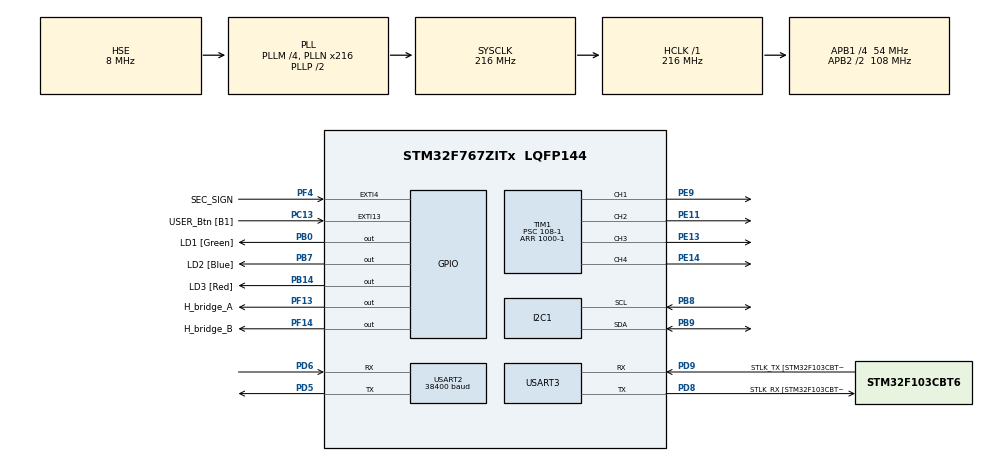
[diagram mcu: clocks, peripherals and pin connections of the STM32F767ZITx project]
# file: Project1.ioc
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FREERTOS.INCLUDE_vTaskDelayUntil=1
FREERTOS.Mutexes01=Mutex_Send,Dynamic,NULL;Mutex_Receive_Uart2,Dynamic,NULL;Mutex_Receive_Uart3,Dynamic,NULL
FREERTOS.Queues01=Queue_Reference_Temp,1,uint8_t,0,Dynamic,NULL,NULL;Queue_Refernce_Light,1,uint8_t,0,Dynamic,NULL,NULL;Queue_Light_Mode,1,uint8_t,0,Dynamic,NULL,NULL;Queue_Real_Temp,1,float,0,Dynamic,NULL,NULL;Queue_Real_Hum,1,uint8_t,0,Dynamic,NULL,NULL;Queue_Real_Lumin,1,uint16_t,0,Dynamic,NULL,NULL
FREERTOS.Tasks01=vTaskRunning,-3,128,StartTaskRunning,Default,NULL,Dynamic,NULL,NULL;vTaskSendInfo,2,128,StartTaskSendInfo,Default,NULL,Dynamic,NULL,NULL;vTaskProcessInf,2,128,StartTaskProcessInfo,Default,NULL,Dynamic,NULL,NULL;vTaskAquireTemp,1,128,StartTaskAquireTemp,Default,NULL,Dynamic,NULL,NULL;vTaskAquireBrig,1,128,StartTaskAquireBright,Default,NULL,Dynamic,NULL,NULL;vTaskSetSecureM,0,128,StartTaskSetSecureMode,Default,NULL,Dynamic,NULL,NULL;vTaskRlControl,0,128,StartTaskRlControl,Default,NULL,Dynamic,NULL,NULL;vTaskLightActua,0,128,StartTaskLightActuator,Default,NULL,Dynamic,NULL,NULL
FREERTOS.Timers01=Fast_Timer,Callback_Fast_Timer,osTimerOnce,Default,NULL,Dynamic,NULL;Slow_Timer,Callback_Slow_Timer,osTimerOnce,Default,NULL,Dynamic,NULL;Samplig_Timer,Callback_Sampling_Timer,osTimerPeriodic,Default,NULL,Dynamic,NULL
FREERTOS.configUSE_APPLICATION_TASK_TAG=0
FREERTOS.configUSE_TIMERS=1
I2C1.Timing=0x20404768
Mcu.Family=STM32F7
Mcu.Name=STM32F767ZITx
Mcu.Package=LQFP144
NVIC.EXTI15_10_IRQn=true\:5\:0\:false\:false\:true\:true\:true\:true
NVIC.EXTI4_IRQn=true\:5\:0\:false\:false\:true\:true\:true\:true
NVIC.PriorityGroup=NVIC_PRIORITYGROUP_4
NVIC.TIM3_IRQn=true\:0\:0\:false\:false\:true\:false\:false\:true
NVIC.TimeBase=TIM3_IRQn
NVIC.TimeBaseIP=TIM3
NVIC.USART2_IRQn=true\:5\:0\:false\:false\:true\:true\:true\:true
NVIC.USART3_IRQn=true\:5\:0\:false\:false\:true\:true\:true\:true
PA13.GPIO_Label=TMS
PA13.Mode=Serial_Wire
PA13.Signal=SYS_JTMS-SWDIO
PA14.GPIO_Label=TCK
PA14.Mode=Serial_Wire
PA14.Signal=SYS_JTCK-SWCLK
PB0.GPIO_Label=LD1 [Green]
PB0.Signal=GPIO_Output
PB14.GPIO_Label=LD3 [Red]
PB14.Signal=GPIO_Output
PB7.GPIO_Label=LD2 [Blue]
PB7.Signal=GPIO_Output
PB8.Mode=I2C
PB8.Signal=I2C1_SCL
PB9.Mode=I2C
PB9.Signal=I2C1_SDA
PC13.GPIO_Label=USER_Btn [B1]
PC13.Signal=GPXTI13
PC14/OSC32_IN.Mode=LSE-External-Oscillator
PC14/OSC32_IN.Signal=RCC_OSC32_IN
PC15/OSC32_OUT.Mode=LSE-External-Oscillator
PC15/OSC32_OUT.Signal=RCC_OSC32_OUT
PD5.Mode=Asynchronous
PD5.Signal=USART2_TX
PD6.Mode=Asynchronous
PD6.Signal=USART2_RX
PD8.GPIO_Label=STLK_RX [STM32F103CBT6_PA3]
PD8.Mode=Asynchronous
PD8.Signal=USART3_TX
PD9.GPIO_Label=STLK_TX [STM32F103CBT6_PA2]
PD9.Mode=Asynchronous
PD9.Signal=USART3_RX
PE11.Signal=S_TIM1_CH2
PE13.Signal=S_TIM1_CH3
PE14.Signal=S_TIM1_CH4
PE9.Signal=S_TIM1_CH1
PF13.GPIO_Label=H_bridge_A
PF13.Signal=GPIO_Output
PF14.GPIO_Label=H_bridge_B
PF14.Signal=GPIO_Output
PF4.GPIO_Label=SEC_SIGN
PF4.GPIO_ModeDefaultEXTI=GPIO_MODE_IT_FALLING
PF4.GPIO_PuPd=GPIO_PULLUP
PF4.Signal=GPXTI4
PH0/OSC_IN.GPIO_Label=MCO [STM32F103CBT6_PA8]
PH0/OSC_IN.Mode=HSE-External-Clock-Source
PH0/OSC_IN.Signal=RCC_OSC_IN
PH1/OSC_OUT.Mode=HSE-External-Clock-Source
PH1/OSC_OUT.Signal=RCC_OSC_OUT
ProjectManager.HeapSize=0x200
ProjectManager.StackSize=0x400
ProjectManager.TargetToolchain=MDK-ARM V5.27
RCC.48MHZClocksFreq_Value=24000000
RCC.AHBFreq_Value=216000000
RCC.APB1CLKDivider=RCC_HCLK_DIV4
RCC.APB1Freq_Value=54000000
RCC.APB1TimFreq_Value=108000000
RCC.APB2CLKDivider=RCC_HCLK_DIV2
RCC.APB2Freq_Value=108000000
RCC.APB2TimFreq_Value=216000000
RCC.CortexFreq_Value=216000000
RCC.HCLKFreq_Value=216000000
RCC.HSE_VALUE=8000000
RCC.HSI_VALUE=16000000
RCC.PLLM=4
RCC.PLLMUL=RCC_PLL_MUL9
RCC.PLLN=216
RCC.PLLQ=9
RCC.PLLSourceVirtual=RCC_PLLSOURCE_HSE
RCC.PRESCALERUSB=RCC_USBCLKSOURCE_PLL_DIV1_5
RCC.SYSCLKFreq_VALUE=216000000
RCC.SYSCLKSource=RCC_SYSCLKSOURCE_PLLCLK
RCC.SYSCLKSourceVirtual=RCC_SYSCLKSOURCE_PLLCLK
RCC.USBFreq_Value=48000000
RCC.VCOOutputFreq_Value=432000000
SH.S_TIM1_CH1.0=TIM1_CH1,PWM Generation1 CH1
SH.S_TIM1_CH2.0=TIM1_CH2,PWM Generation2 CH2
SH.S_TIM1_CH3.0=TIM1_CH3,PWM Generation3 CH3
SH.S_TIM1_CH4.0=TIM1_CH4,PWM Generation4 CH4
TIM1.Channel-PWM\ Generation1\ CH1=TIM_CHANNEL_1
TIM1.Channel-PWM\ Generation2\ CH2=TIM_CHANNEL_2
TIM1.Channel-PWM\ Generation3\ CH3=TIM_CHANNEL_3
TIM1.Channel-PWM\ Generation4\ CH4=TIM_CHANNEL_4
TIM1.Period=1000-1
TIM1.Prescaler=108-1
USART2.BaudRate=38400
USART2.VirtualMode-Asynchronous=VM_ASYNC
USART3.VirtualMode-Asynchronous=VM_ASYNC
VP_FREERTOS_VS_CMSIS_V1.Mode=CMSIS_V1
VP_SYS_VS_tim3.Mode=TIM3
VP_TIM1_VS_ClockSourceINT.Mode=Internal
board=NUCLEO-F767ZI

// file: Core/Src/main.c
/* USER CODE BEGIN Header */
/**
  ******************************************************************************
  * @file           : main.c
  * @brief          : Main program body
  ******************************************************************************
  * @attention
  *
  * <h2><center>&copy; Copyright (c) 2020 STMicroelectronics.
  * All rights reserved.</center></h2>
  *
  * This software component is licensed by ST under BSD 3-Clause license,
  * the "License"; You may not use this file except in compliance with the
  * License. You may obtain a copy of the License at:
  *                        opensource.org/licenses/BSD-3-Clause
  *
  ******************************************************************************
  */
/* USER CODE END Header */
#include "main.h"
#include "cmsis_os.h"
#include "i2c.h"
#include "tim.h"
#include "usart.h"
#include "gpio.h"

/* USER CODE BEGIN Includes */
#include "tsl2561.h"
#include "bme280.h"
#include "Sys.h"

/* USER CODE END Includes */

void SystemClock_Config(void);
void MX_FREERTOS_Init(void);

/* USER CODE BEGIN 0 */
float temperature;
float humidity;
float pressure;

/* USER CODE END 0 */

int main(void)
{

  /* MCU Configuration--------------------------------------------------------*/

  /* Reset of all peripherals, Initializes the Flash interface and the Systick. */
  HAL_Init();

  /* Configure the system clock */
  SystemClock_Config();

  /* Initialize all configured peripherals */
  MX_GPIO_Init();
  MX_USART3_UART_Init();
  MX_I2C1_Init();
  MX_USART2_UART_Init();
  MX_TIM1_Init();
  /* USER CODE BEGIN 2 */

  /* Initialize configured peripherals */
  /* Initialize UART_BTH */
  init_UART2();
  /* Initialize UART_RASP */
  init_UART3();
  /* Initialize PWM CHANNELS */
//  HAL_TIM_PWM_Start(&htim3,TIM_CHANNEL_4);
//  htim3.Instance->CCR4=0;
  HAL_TIM_PWM_Start(&htim1,TIM_CHANNEL_1);
//  htim1.Instance->CCR1=0;
  HAL_TIM_PWM_Start(&htim1,TIM_CHANNEL_2);
//  htim1.Instance->CCR2=0;
  HAL_TIM_PWM_Start(&htim1,TIM_CHANNEL_3);
//  htim1.Instance->CCR3=0;
  HAL_TIM_PWM_Start(&htim1,TIM_CHANNEL_4);
//  htim1.Instance->CCR4=0;
  /* Initialize LUX_SENSOR */
  TSL2561_Init(&in_sensor);
  /* Initialize TEMP&HUM_SENSOR */
  BME280_Init();

  main_vars_inti();
  /* USER CODE END 2 */

  /* Call init function for freertos objects (in freertos.c) */
  MX_FREERTOS_Init();
  /* Start scheduler */
  osKernelStart();

  /* We should never get here as control is now taken by the scheduler */
  /* Infinite loop */
  while (1)
  {

  }
}

void SystemClock_Config(void)
{
  RCC_OscInitTypeDef RCC_OscInitStruct = {0};
  RCC_ClkInitTypeDef RCC_ClkInitStruct = {0};
  RCC_PeriphCLKInitTypeDef PeriphClkInitStruct = {0};

  /** Configure LSE Drive Capability
  */
  HAL_PWR_EnableBkUpAccess();
  /** Configure the main internal regulator output voltage
  */
  __HAL_RCC_PWR_CLK_ENABLE();
  __HAL_PWR_VOLTAGESCALING_CONFIG(PWR_REGULATOR_VOLTAGE_SCALE1);
  /** Initializes the RCC Oscillators according to the specified parameters
  * in the RCC_OscInitTypeDef structure.
  */
  RCC_OscInitStruct.OscillatorType = RCC_OSCILLATORTYPE_HSE;
  RCC_OscInitStruct.HSEState = RCC_HSE_BYPASS;
  RCC_OscInitStruct.PLL.PLLState = RCC_PLL_ON;
  RCC_OscInitStruct.PLL.PLLSource = RCC_PLLSOURCE_HSE;
  RCC_OscInitStruct.PLL.PLLM = 4;
  RCC_OscInitStruct.PLL.PLLN = 216;
  RCC_OscInitStruct.PLL.PLLP = RCC_PLLP_DIV2;
  RCC_OscInitStruct.PLL.PLLQ = 9;
  if (HAL_RCC_OscConfig(&RCC_OscInitStruct) != HAL_OK)
  {
    Error_Handler();
  }
  /** Activate the Over-Drive mode
  */
  if (HAL_PWREx_EnableOverDrive() != HAL_OK)
  {
    Error_Handler();
  }
  /** Initializes the CPU, AHB and APB buses clocks
  */
  RCC_ClkInitStruct.ClockType = RCC_CLOCKTYPE_HCLK|RCC_CLOCKTYPE_SYSCLK
                              |RCC_CLOCKTYPE_PCLK1|RCC_CLOCKTYPE_PCLK2;
  RCC_ClkInitStruct.SYSCLKSource = RCC_SYSCLKSOURCE_PLLCLK;
  RCC_ClkInitStruct.AHBCLKDivider = RCC_SYSCLK_DIV1;
  RCC_ClkInitStruct.APB1CLKDivider = RCC_HCLK_DIV4;
  RCC_ClkInitStruct.APB2CLKDivider = RCC_HCLK_DIV2;

  if (HAL_RCC_ClockConfig(&RCC_ClkInitStruct, FLASH_LATENCY_7) != HAL_OK)
  {
    Error_Handler();
  }
  PeriphClkInitStruct.PeriphClockSelection = RCC_PERIPHCLK_USART2|RCC_PERIPHCLK_USART3
                              |RCC_PERIPHCLK_I2C1;
  PeriphClkInitStruct.Usart2ClockSelection = RCC_USART2CLKSOURCE_PCLK1;
  PeriphClkInitStruct.Usart3ClockSelection = RCC_USART3CLKSOURCE_PCLK1;
  PeriphClkInitStruct.I2c1ClockSelection = RCC_I2C1CLKSOURCE_PCLK1;
  if (HAL_RCCEx_PeriphCLKConfig(&PeriphClkInitStruct) != HAL_OK)
  {
    Error_Handler();
  }
}

 /**
  * @brief  Period elapsed callback in non blocking mode
  * @note   This function is called  when TIM3 interrupt took place, inside
  * HAL_TIM_IRQHandler(). It makes a direct call to HAL_IncTick() to increment
  * a global variable "uwTick" used as application time base.
  * @param  htim : TIM handle
  * @retval None
  */
void HAL_TIM_PeriodElapsedCallback(TIM_HandleTypeDef *htim)
{
  if (htim->Instance == TIM3) {
    HAL_IncTick();
  }
}

void Error_Handler(void)
{
}

/************************ (C) COPYRIGHT STMicroelectronics *****END OF FILE****/

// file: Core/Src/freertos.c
/* USER CODE BEGIN Header */
/**
  ******************************************************************************
  * File Name          : freertos.c
  * Description        : Code for freertos applications
  ******************************************************************************
  * @attention
  *
  * <h2><center>&copy; Copyright (c) 2020 STMicroelectronics.
  * All rights reserved.</center></h2>
  *
  * This software component is licensed by ST under Ultimate Liberty license
  * SLA0044, the "License"; You may not use this file except in compliance with
  * the License. You may obtain a copy of the License at:
  *                             www.st.com/SLA0044
  *
  ******************************************************************************
  */
/* USER CODE END Header */

#include "FreeRTOS.h"
#include "task.h"
#include "main.h"
#include "cmsis_os.h"

/* USER CODE BEGIN Includes */
#include "actuators.h"
#include "dth11.h"
#include "bme280.h"
#include "tsl2561.h"
#include "hc05.h"
#include "dc_motor.h"
#include "usart.h"
#include "tim.h"
#include "gpio.h"
#include "Sys.h"
#include <stdio.h>
#include <string.h>

/* USER CODE END Includes */

/* USER CODE BEGIN PTD */

uint8_t flag_blocked=0;
uint8_t flag_motor_control=0;
uint8_t flag_fan_control=1;

/* USER CODE END PTD */

osThreadId vTaskRunningHandle;
osThreadId vTaskSendInfoHandle;
osThreadId vTaskProcessInfHandle;
osThreadId vTaskAquireTempHandle;
osThreadId vTaskAquireBrigHandle;
osThreadId vTaskSetSecureMHandle;
osThreadId vTaskRlControlHandle;
osThreadId vTaskLightActuaHandle;
osMessageQId Queue_Reference_TempHandle;
osMessageQId Queue_Refernce_LightHandle;
osMessageQId Queue_Light_ModeHandle;
osMessageQId Queue_Real_TempHandle;
osMessageQId Queue_Real_HumHandle;
osMessageQId Queue_Real_LuminHandle;
osTimerId Fast_TimerHandle;
osTimerId Slow_TimerHandle;
osTimerId Samplig_TimerHandle;
osMutexId Mutex_SendHandle;
osMutexId Mutex_Receive_Uart2Handle;
osMutexId Mutex_Receive_Uart3Handle;

void StartTaskRunning(void const * argument);
void StartTaskSendInfo(void const * argument);
void StartTaskProcessInfo(void const * argument);
void StartTaskAquireTemp(void const * argument);
void StartTaskAquireBright(void const * argument);
void StartTaskSetSecureMode(void const * argument);
void StartTaskRlControl(void const * argument);
void StartTaskLightActuator(void const * argument);
void Callback_Fast_Timer(void const * argument);
void Callback_Slow_Timer(void const * argument);
void Callback_Sampling_Timer(void const * argument);

void MX_FREERTOS_Init(void); /* (MISRA C 2004 rule 8.1) */

/* GetIdleTaskMemory prototype (linked to static allocation support) */
void vApplicationGetIdleTaskMemory( StaticTask_t **ppxIdleTaskTCBBuffer, StackType_t **ppxIdleTaskStackBuffer, uint32_t *pulIdleTaskStackSize );

/* GetTimerTaskMemory prototype (linked to static allocation support) */
void vApplicationGetTimerTaskMemory( StaticTask_t **ppxTimerTaskTCBBuffer, StackType_t **ppxTimerTaskStackBuffer, uint32_t *pulTimerTaskStackSize );

/* USER CODE BEGIN GET_IDLE_TASK_MEMORY */
static StaticTask_t xIdleTaskTCBBuffer;
static StackType_t xIdleStack[configMINIMAL_STACK_SIZE];

void vApplicationGetIdleTaskMemory( StaticTask_t **ppxIdleTaskTCBBuffer, StackType_t **ppxIdleTaskStackBuffer, uint32_t *pulIdleTaskStackSize )
{
  *ppxIdleTaskTCBBuffer = &xIdleTaskTCBBuffer;
  *ppxIdleTaskStackBuffer = &xIdleStack[0];
  *pulIdleTaskStackSize = configMINIMAL_STACK_SIZE;
  /* place for user code */
}
/* USER CODE END GET_IDLE_TASK_MEMORY */

/* USER CODE BEGIN GET_TIMER_TASK_MEMORY */
static StaticTask_t xTimerTaskTCBBuffer;
static StackType_t xTimerStack[configTIMER_TASK_STACK_DEPTH];

void vApplicationGetTimerTaskMemory( StaticTask_t **ppxTimerTaskTCBBuffer, StackType_t **ppxTimerTaskStackBuffer, uint32_t *pulTimerTaskStackSize )
{
  *ppxTimerTaskTCBBuffer = &xTimerTaskTCBBuffer;
  *ppxTimerTaskStackBuffer = &xTimerStack[0];
  *pulTimerTaskStackSize = configTIMER_TASK_STACK_DEPTH;
  /* place for user code */
}
/* USER CODE END GET_TIMER_TASK_MEMORY */

void MX_FREERTOS_Init(void) {
  /* Create the mutex(es) */
  /* definition and creation of Mutex_Send */
  osMutexDef(Mutex_Send);
  Mutex_SendHandle = osMutexCreate(osMutex(Mutex_Send));

  /* definition and creation of Mutex_Receive_Uart2 */
  osMutexDef(Mutex_Receive_Uart2);
  Mutex_Receive_Uart2Handle = osMutexCreate(osMutex(Mutex_Receive_Uart2));

  /* definition and creation of Mutex_Receive_Uart3 */
  osMutexDef(Mutex_Receive_Uart3);
  Mutex_Receive_Uart3Handle = osMutexCreate(osMutex(Mutex_Receive_Uart3));

  /* Create the timer(s) */
  /* definition and creation of Fast_Timer */
  osTimerDef(Fast_Timer, Callback_Fast_Timer);
  Fast_TimerHandle = osTimerCreate(osTimer(Fast_Timer), osTimerOnce, NULL);

  /* definition and creation of Slow_Timer */
  osTimerDef(Slow_Timer, Callback_Slow_Timer);
  Slow_TimerHandle = osTimerCreate(osTimer(Slow_Timer), osTimerOnce, NULL);

  /* definition and creation of Samplig_Timer */
  osTimerDef(Samplig_Timer, Callback_Sampling_Timer);
  Samplig_TimerHandle = osTimerCreate(osTimer(Samplig_Timer), osTimerPeriodic, NULL);

  /* Create the queue(s) */
  /* definition and creation of Queue_Reference_Temp */
  osMessageQDef(Queue_Reference_Temp, 1, uint8_t);
  Queue_Reference_TempHandle = osMessageCreate(osMessageQ(Queue_Reference_Temp), NULL);

  /* definition and creation of Queue_Refernce_Light */
  osMessageQDef(Queue_Refernce_Light, 1, uint8_t);
  Queue_Refernce_LightHandle = osMessageCreate(osMessageQ(Queue_Refernce_Light), NULL);

  /* definition and creation of Queue_Light_Mode */
  osMessageQDef(Queue_Light_Mode, 1, uint8_t);
  Queue_Light_ModeHandle = osMessageCreate(osMessageQ(Queue_Light_Mode), NULL);

  /* definition and creation of Queue_Real_Temp */
  osMessageQDef(Queue_Real_Temp, 1, float);
  Queue_Real_TempHandle = osMessageCreate(osMessageQ(Queue_Real_Temp), NULL);

  /* definition and creation of Queue_Real_Hum */
  osMessageQDef(Queue_Real_Hum, 1, uint8_t);
  Queue_Real_HumHandle = osMessageCreate(osMessageQ(Queue_Real_Hum), NULL);

  /* definition and creation of Queue_Real_Lumin */
  osMessageQDef(Queue_Real_Lumin, 1, uint16_t);
  Queue_Real_LuminHandle = osMessageCreate(osMessageQ(Queue_Real_Lumin), NULL);

  /* Create the thread(s) */
  /* definition and creation of vTaskRunning */
  osThreadDef(vTaskRunning, StartTaskRunning, osPriorityIdle, 0, 128);
  vTaskRunningHandle = osThreadCreate(osThread(vTaskRunning), NULL);

  /* definition and creation of vTaskSendInfo */
  osThreadDef(vTaskSendInfo, StartTaskSendInfo, osPriorityHigh, 0, 128);
  vTaskSendInfoHandle = osThreadCreate(osThread(vTaskSendInfo), NULL);

  /* definition and creation of vTaskProcessInf */
  osThreadDef(vTaskProcessInf, StartTaskProcessInfo, osPriorityHigh, 0, 128);
  vTaskProcessInfHandle = osThreadCreate(osThread(vTaskProcessInf), NULL);

  /* definition and creation of vTaskAquireTemp */
  osThreadDef(vTaskAquireTemp, StartTaskAquireTemp, osPriorityAboveNormal, 0, 128);
  vTaskAquireTempHandle = osThreadCreate(osThread(vTaskAquireTemp), NULL);

  /* definition and creation of vTaskAquireBrig */
  osThreadDef(vTaskAquireBrig, StartTaskAquireBright, osPriorityAboveNormal, 0, 128);
  vTaskAquireBrigHandle = osThreadCreate(osThread(vTaskAquireBrig), NULL);

  /* definition and creation of vTaskSetSecureM */
  osThreadDef(vTaskSetSecureM, StartTaskSetSecureMode, osPriorityNormal, 0, 128);
  vTaskSetSecureMHandle = osThreadCreate(osThread(vTaskSetSecureM), NULL);

  /* definition and creation of vTaskRlControl */
  osThreadDef(vTaskRlControl, StartTaskRlControl, osPriorityNormal, 0, 128);
  vTaskRlControlHandle = osThreadCreate(osThread(vTaskRlControl), NULL);

  /* definition and creation of vTaskLightActua */
  osThreadDef(vTaskLightActua, StartTaskLightActuator, osPriorityNormal, 0, 128);
  vTaskLightActuaHandle = osThreadCreate(osThread(vTaskLightActua), NULL);

  /* USER CODE BEGIN RTOS_THREADS */
  /* add threads, ... */
  osTimerStart(Samplig_TimerHandle,100);
  /* USER CODE END RTOS_THREADS */

}

void StartTaskRunning(void const * argument)
{
  /* USER CODE BEGIN StartTaskRunning */
  /* Infinite loop */
  for(;;)
  {
	  HAL_GPIO_TogglePin(GPIOB,LD1_Pin);
	  osDelay(500);
  }
  /* USER CODE END StartTaskRunning */
}

void StartTaskSendInfo(void const * argument)
{
  /* USER CODE BEGIN StartTaskSendInfo */
  /* Infinite loop */
  for(;;)
  {
	  uint8_t *poiter_to_text;
	  poiter_to_text= pvPortMalloc(10);

	  switch (_mains._fl_changed){
	  case 1 : // reference temperature changed via bth
		  sprintf((char*)poiter_to_text,"RT%d\n",_mains._setpoint_temp);
		  break;
	  case 2 : // light mode changed via bth
		  sprintf((char*)poiter_to_text,"ML%d\n",_mains._fl_lux_mode);
		  break;
	  case 3 : // light reference changed via bth
		  sprintf((char*)poiter_to_text,"RL%d\n",_mains._setpoint_lux);
		  break;
	  case 11 : // reference temperature changed via uart3
		  sprintf((char*)poiter_to_text,"RT%d\r\n",_mains._setpoint_temp);
		  break;
	  case 12 : // light mode changed via uart3
		  sprintf((char*)poiter_to_text,"ML%d\r\n",_mains._fl_lux_mode);
		  break;
	  case 13 : // light reference changed via uart3
		  sprintf((char*)poiter_to_text,"RL%d\r\n",_mains._setpoint_lux);
		  break;
	  default:
		  sprintf((char*)poiter_to_text,"0\n");
		  break;
	  }
	  if((_mains._fl_changed>0)&&(_mains._fl_changed<10)){
		  _mains._fl_changed=0;
	//	  mutex take
		  send_uart3(poiter_to_text);
	//	  mutex_give
	  }
	  else if(_mains._fl_changed>10){
		  _mains._fl_changed=0;
	  	 //	  mutex take
	  	  if(verifyConnection()){
	  		  send_bth(poiter_to_text);
	  	  }
	  	//	  mutex_give
	  }
	  vPortFree(poiter_to_text);
	  osDelay(500);

	  poiter_to_text= pvPortMalloc(10);
	  switch (_mains._fl_sys_changed){
	  case 1 : // temperature changed sensor
		  sprintf((char*)poiter_to_text,"T%d,%d\r\n",(_mains._actual_temp/10),(_mains._actual_temp%10));
		  _mains._fl_sys_changed &= ~(1);
		  _mains._fl_sys_changed |= (128);
	  	  break;
	  case 2 : // humidity changed sensor
	  case 3 : // humidity changed sensor
	  	  sprintf((char*)poiter_to_text,"H%d\r\n",_mains._actual_humm);
	  	_mains._fl_sys_changed &= ~(2);
	  	_mains._fl_sys_changed |= (128);
	  	  break;
	  case 4 : // light changed sensor
	  case 5 : // light changed sensor
	  case 6 : // light changed sensor
	  case 7 : // light changed sensor
	  	  sprintf((char*)poiter_to_text,"L%d\r\n",(_mains._actual_lux/10));
	  	_mains._fl_sys_changed &= ~(4);
	  	_mains._fl_sys_changed |= (128);
	  	  break;
	  default:
		  sprintf((char*)poiter_to_text,"0\n");
		  break;
	  }
	  if(_mains._fl_sys_changed>0){
		  //	  mutex take
		  _mains._fl_sys_changed=0;
		  send_uart3(poiter_to_text);
		  if(verifyConnection()){
			  send_bth(poiter_to_text);
		  }
	  }
	  //	  mutex_give
	  vPortFree(poiter_to_text);
	  osDelay(500);
  }
  /* USER CODE END StartTaskSendInfo */
}

void StartTaskProcessInfo(void const * argument)
{
  /* USER CODE BEGIN StartTaskProcessInfo */
  /* Infinite loop */
  for(;;)
  {
//	  uint8_t received_value=0;
	  ulTaskNotifyTake(pdTRUE,portMAX_DELAY);
//	  printf("Process_Info_function\n");
	  if(uart2_received_flag){
		  uart2_received_flag=0;
		  receive_bth();
	  }
	  if(uart3_received_flag){
		  uart3_received_flag=0;
//		  printf("recebeu");
		  receive_uart3();
	  }
    osDelay(1);
  }
  /* USER CODE END StartTaskProcessInfo */
}

void StartTaskAquireTemp(void const * argument)
{
  /* USER CODE BEGIN StartTaskAquireTemp */
  /* Infinite loop */
  for(;;)
  {
	  /* FORCED*/
	  int16_t temperature;
	  static int16_t last_temperature=0;
	  uint8_t humidity;
	  static uint8_t last_humidity=0;
	  rslt = bme280_set_sensor_mode(BME280_FORCED_MODE, &dev);
	  osDelay(40);
	  rslt = bme280_get_sensor_data(BME280_ALL, &comp_data, &dev);
	  if(rslt == BME280_OK){
		  temperature = comp_data.temperature / 10;      // ºC
		  humidity = comp_data.humidity / 1024.0;           // %
		  _mains._actual_temp=temperature;
		  _mains._actual_humm=humidity;
		  if(last_temperature!=temperature){
			  _mains._fl_sys_changed|=1;
			  last_temperature=temperature;
		  }
		  if(last_humidity!=humidity){
			  _mains._fl_sys_changed|=2;
			  last_humidity=humidity;
		  }
//		  xQueueOverwrite(Queue_Real_TempHandle, &temperature);
//		  xQueueOverwrite(Queue_Real_HumHandle, &humidity);
	  }
	  osDelay(60);	// periodo de amostragem de 100ms
  }
  /* USER CODE END StartTaskAquireTemp */
}

void StartTaskAquireBright(void const * argument)
{
  /* USER CODE BEGIN StartTaskAquireBright */
  /* Infinite loop */
  for(;;)
  {
	  uint16_t ir_value=0;
	  uint16_t vl_value=0;
	  uint16_t lux_value=0;
	  static uint16_t last_lux_value=0;
	  enable(&in_sensor);
	  osDelay(15);
	  getData (&in_sensor, &vl_value, &ir_value);
	  disable(&in_sensor);
	  lux_value=TSL2561_calculateLux(vl_value, ir_value);
	  //mandar para queue
	  _mains._actual_lux=lux_value;
	  if(last_lux_value!=lux_value){
		  _mains._fl_sys_changed|=4;
		  last_lux_value=lux_value;
	  }
//	  xQueueOverwrite(Queue_Real_LuminHandle, &lux_value);
	  osDelay(135);	// periodo de amostragem de 150ms
  }
  /* USER CODE END StartTaskAquireBright */
}

void StartTaskSetSecureMode(void const * argument)
{
  /* USER CODE BEGIN StartTaskSetSecureMode */
  /* Infinite loop */
  for(;;)
  {
	  ulTaskNotifyTake(pdTRUE,portMAX_DELAY);
	  printf("Task_secure_active");
	  osTimerStart(Fast_TimerHandle,5000);	// 300 000 ms --> 5 min

    osDelay(10);
  }
  /* USER CODE END StartTaskSetSecureMode */
}

void StartTaskRlControl(void const * argument)
{
  /* USER CODE BEGIN StartTaskRlControl */
  /* Infinite loop */
  for(;;)
  {
	  ulTaskNotifyTake(pdTRUE,portMAX_DELAY);
//	  printf("RL_Control_function");
//	  uint8_t states_rl=0;

	  if((_mains._fl_fan_control==1)&&((_mains._fl_states_rl==1)||(_mains._fl_states_rl==2))){

	  }
    osDelay(1);
  }
  /* USER CODE END StartTaskRlControl */
}

void StartTaskLightActuator(void const * argument)
{
  /* USER CODE BEGIN StartTaskLightActuator */
  /* Infinite loop */
  for(;;)
  {

	  ulTaskNotifyTake(pdTRUE,portMAX_DELAY);
	  actuate_light((5+(_mains._setpoint_lux/1.06)+(-(_mains._setpoint_lux/1.06)+(_mains._setpoint_lux/3)+(_mains._actual_lux/10))*_mains._fl_lux_mode));
	  osDelay(10);
  }
  /* USER CODE END StartTaskLightActuator */
}

/* Callback_Fast_Timer function */
void Callback_Fast_Timer(void const * argument)
{
  /* USER CODE BEGIN Callback_Fast_Timer */
//	printf("Fast_Timer_ends");
	osTimerStart(Slow_TimerHandle,10000);	// 600 000 ms --> 10 min
	//block the motor
	_mains._fl_motor_blocked=1;
	stop_motor();
  /* USER CODE END Callback_Fast_Timer */
}

/* Callback_Slow_Timer function */
void Callback_Slow_Timer(void const * argument)
{
  /* USER CODE BEGIN Callback_Slow_Timer */
//	printf("Slow_Timer_ends");
	//unblock the motor
	_mains._fl_motor_blocked=0;
  /* USER CODE END Callback_Slow_Timer */
}

/* Callback_Sampling_Timer function */
void Callback_Sampling_Timer(void const * argument)
{
  /* USER CODE BEGIN Callback_Sampling_Timer */
//	xTaskNotifyGive( vTaskRlControlHandle );
	xTaskNotifyGive( vTaskLightActuaHandle );
  /* USER CODE END Callback_Sampling_Timer */
}

/************************ (C) COPYRIGHT STMicroelectronics *****END OF FILE****/
